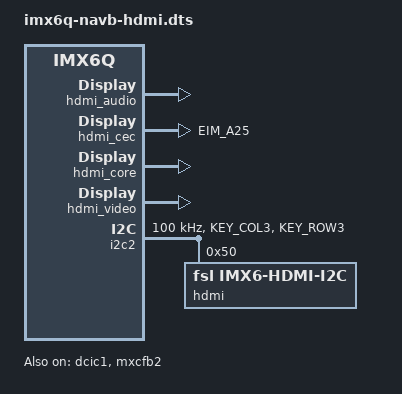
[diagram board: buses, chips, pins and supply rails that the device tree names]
/*
 * Copyright 2015 Markus Niebel, TQ Systems GmbH
 *
 * The code contained herein is licensed under the GNU General Public
 * License. You may obtain a copy of the GNU General Public License
 * Version 2 or later at the following locations:
 *
 * http://www.opensource.org/licenses/gpl-license.html
 * http://www.gnu.org/copyleft/gpl.html
 */

#include "imx6q-navb.dts"

/ {
	sound-hdmi {
		compatible = "fsl,imx6q-audio-hdmi",
			     "fsl,imx-audio-hdmi";
		model = "imx-audio-hdmi";
		hdmi-controller = <&hdmi_audio>;
	};
};

&dcic1 {
	dcic_id = <0>;
	dcic_mux = "dcic-hdmi";
	status = "okay";
};

&hdmi_audio {
	status = "okay";
};

&hdmi_cec {
	pinctrl-names = "default";
	pinctrl-0 = <&pinctrl_hdmi_cec>;
	status = "okay";
};

&hdmi_core {
	ipu_id = <0>;
	disp_id = <0>;
	status = "okay";
};

&hdmi_video {
	fsl,phy_reg_vlev = <0x0294>;
	fsl,phy_reg_cksymtx = <0x800d>;
	status = "okay";
};

&i2c2 {
	clock-frequency = <100000>;
	pinctrl-names = "default";
	pinctrl-0 = <&pinctrl_i2c2>;
	status = "okay";

	hdmi: edid@50 {
		compatible = "fsl,imx6-hdmi-i2c";
		reg = <0x50>;
	};
};

&iomuxc {
	imx6q-nav {
		pinctrl_hdmi_cec: hdmicecgrp {
			fsl,pins = <
				MX6QDL_PAD_EIM_A25__HDMI_TX_CEC_LINE 0x1f8b0
			>;
		};

		pinctrl_i2c2: i2c2grp {
			fsl,pins = <
				MX6QDL_PAD_KEY_COL3__I2C2_SCL 0x4001b899
				MX6QDL_PAD_KEY_ROW3__I2C2_SDA 0x4001b899
			>;
		};
	};
};

&mxcfb2 {
	status = "okay";
};
